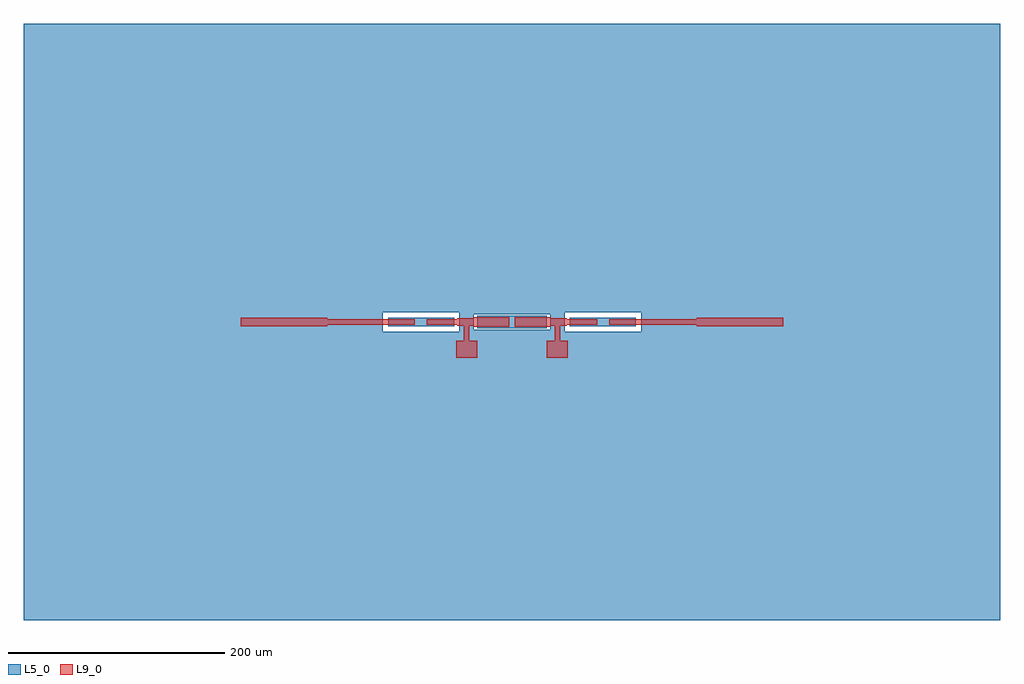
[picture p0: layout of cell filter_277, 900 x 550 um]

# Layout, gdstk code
import gdstk
lib = gdstk.Library(unit=1e-6, precision=1e-09)
def R(c, l, rs):  # rectangles x0, y0, x1, y1
    for r in rs: c.add(gdstk.rectangle(r[:2], r[2:], *l))
def P(c, l, *ps):  # polygons
    for p in ps: c.add(gdstk.Polygon(p, *l))
L5_0 = (5, 0)
L9_0 = (9, 0)

filter_277_microstrip = lib.new_cell('filter_277_microstrip')
R(filter_277_microstrip, L9_0, [(-250,-4,-170.137,4), (170.137,-4,250,4), (-170.137,-2.5,-89.593,2.5), (89.593,-2.5,170.137,2.5)])
P(filter_277_microstrip, L9_0, [(-78.426,-2.5),(-50.26,-2.5),(-50.26,-3.552),(-44.27,-3.552),(-44.27,-17.454),(-51.579,-17.454),(-51.579,-32.761),(-32.163,-32.761),(-32.163,-17.454),(-39.47,-17.454),(-39.47,-3.552),(-35.852,-3.552),(-35.852,-4.601),(-2.591,-4.601),(-2.591,4.601),(-35.852,4.601),(-35.852,3.552),(-50.26,3.552),(-50.26,2.5),(-78.426,2.5)],
  [(78.426,-2.5),(50.26,-2.5),(50.26,-3.552),(44.27,-3.552),(44.27,-17.454),(51.579,-17.454),(51.579,-32.761),(32.163,-32.761),(32.163,-17.454),(39.47,-17.454),(39.47,-3.552),(35.852,-3.552),(35.852,-4.601),(2.591,-4.601),(2.591,4.601),(35.852,4.601),(35.852,3.552),(50.26,3.552),(50.26,2.5),(78.426,2.5)])

filter_277_ground = lib.new_cell('filter_277_ground')
R(filter_277_ground, L5_0, [(-31.954,-5.712,31.954,5.712), (-114.18,-4,-53.38,4), (53.38,-4,114.18,4)])
P(filter_277_ground, L5_0, [(-450,275),(450,275),(450,-275),(48.543,-275),(48.543,-9.15),(119.016,-9.15),(119.016,9.15),(48.543,9.15),(48.543,-275),(-35.196,-275),(-35.196,-7.212),(35.196,-7.212),(35.196,7.212),(-35.196,7.212),(-35.196,-275),(-119.016,-275),(-119.016,-9.15),(-48.543,-9.15),(-48.543,9.15),(-119.016,9.15),(-119.016,-275),(-450,-275)])

filter_277 = lib.new_cell('filter_277')
filter_277.add(gdstk.Reference(filter_277_microstrip, (0,0)))
filter_277.add(gdstk.Reference(filter_277_ground, (0,0)))

lib.write_gds('filter_277.gds')
